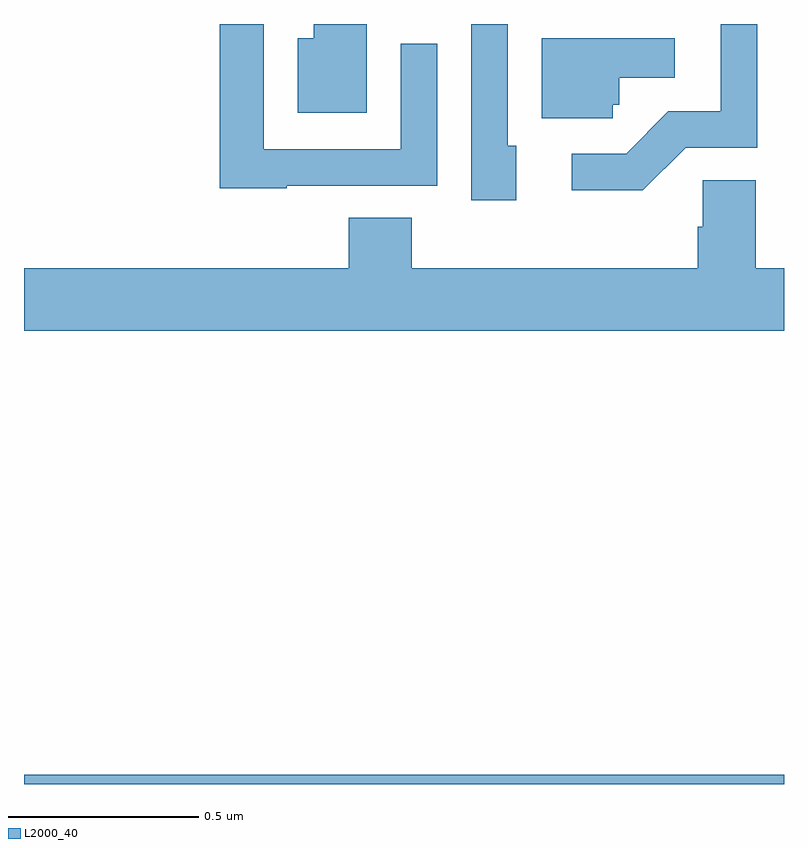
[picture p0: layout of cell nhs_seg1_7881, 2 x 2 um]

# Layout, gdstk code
import gdstk
lib = gdstk.Library(unit=1e-6, precision=1e-09)
def R(c, l, rs):  # rectangles x0, y0, x1, y1
    for r in rs: c.add(gdstk.rectangle(r[:2], r[2:], *l))
def P(c, l, *ps):  # polygons
    for p in ps: c.add(gdstk.Polygon(p, *l))
L2000_40 = (2000, 40)

nhs_seg1_7881 = lib.new_cell('nhs_seg1_7881')
R(nhs_seg1_7881, L2000_40, [(209,557.199,211,557.224)])
P(nhs_seg1_7881, L2000_40, [(210.295,558.879),(210.273,558.879),(210.273,559.199),(210.177,559.199),(210.177,558.735),(210.295,558.735)],
  [(209.691,558.774),(210.087,558.774),(210.087,559.147),(209.991,559.147),(209.991,558.87),(209.631,558.87),(209.631,559.199),(209.515,559.199),(209.515,558.767),(209.691,558.767)],
  [(209.902,559.199),(209.762,559.199),(209.762,559.162),(209.72,559.162),(209.72,558.965),(209.902,558.965)],
  [(210.741,558.873),(210.93,558.873),(210.93,559.199),(210.834,559.199),(210.834,558.969),(210.696,558.969),(210.585,558.858),(210.441,558.858),(210.441,558.761),(210.628,558.761)],
  [(210.549,558.987),(210.567,558.987),(210.567,559.058),(210.712,559.058),(210.712,559.162),(210.362,559.162),(210.362,558.951),(210.549,558.951)],
  [(211,558.556),(210.925,558.556),(210.925,558.788),(210.786,558.788),(210.786,558.665),(210.773,558.665),(210.773,558.556),(210.02,558.556),(210.02,558.689),(209.855,558.689),(209.855,558.556),(209,558.556),(209,558.392),(211,558.392)])

lib.write_gds('nhs_seg1_7881.gds')
